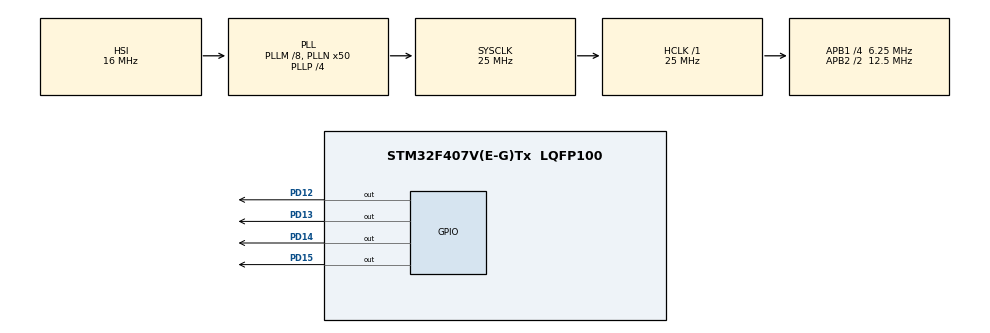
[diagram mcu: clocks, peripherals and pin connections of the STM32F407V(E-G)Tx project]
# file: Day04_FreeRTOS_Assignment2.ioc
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FREERTOS.INCLUDE_vTaskDelayUntil=1
FREERTOS.Tasks01=defaultTask,-3,128,StartDefaultTask,Default,NULL,Dynamic,NULL,NULL
FREERTOS.configUSE_NEWLIB_REENTRANT=1
Mcu.Family=STM32F4
Mcu.Name=STM32F407V(E-G)Tx
Mcu.Package=LQFP100
NVIC.PriorityGroup=NVIC_PRIORITYGROUP_4
NVIC.TIM1_UP_TIM10_IRQn=true\:15\:0\:false\:false\:true\:false\:false\:true\:true
NVIC.TimeBase=TIM1_UP_TIM10_IRQn
NVIC.TimeBaseIP=TIM1
PD12.Signal=GPIO_Output
PD13.Signal=GPIO_Output
PD14.Signal=GPIO_Output
PD15.Signal=GPIO_Output
ProjectManager.HeapSize=0x200
ProjectManager.StackSize=0x400
ProjectManager.TargetToolchain=STM32CubeIDE
RCC.48MHZClocksFreq_Value=14285714.285714285
RCC.AHBFreq_Value=25000000
RCC.APB1CLKDivider=RCC_HCLK_DIV4
RCC.APB1Freq_Value=6250000
RCC.APB1TimFreq_Value=12500000
RCC.APB2CLKDivider=RCC_HCLK_DIV2
RCC.APB2Freq_Value=12500000
RCC.APB2TimFreq_Value=25000000
RCC.CortexFreq_Value=25000000
RCC.HCLKFreq_Value=25000000
RCC.HSE_VALUE=8000000
RCC.HSI_VALUE=16000000
RCC.LSE_VALUE=32768
RCC.PLLM=8
RCC.PLLN=50
RCC.PLLP=RCC_PLLP_DIV4
RCC.PLLQ=7
RCC.SYSCLKFreq_VALUE=25000000
RCC.SYSCLKSource=RCC_SYSCLKSOURCE_PLLCLK
RCC.VCOOutputFreq_Value=100000000
VP_FREERTOS_VS_CMSIS_V1.Mode=CMSIS_V1
VP_SYS_VS_tim1.Mode=TIM1
board=STM32F407G-DISC1

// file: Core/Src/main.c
/* USER CODE BEGIN Header */
/**
  ******************************************************************************
  * @file           : main.c
  * @brief          : Main program body
  ******************************************************************************
  * @attention
  *
  * Copyright (c) 2024 STMicroelectronics.
  * All rights reserved.
  *
  * This software is licensed under terms that can be found in the LICENSE file
  * in the root directory of this software component.
  * If no LICENSE file comes with this software, it is provided AS-IS.
  *
  ******************************************************************************
  */
/* USER CODE END Header */
#include "main.h"
#include "cmsis_os.h"

/* USER CODE BEGIN Includes */
#include "FreeRTOS.h"
#include "task.h"
#include "FreeRTOSConfig.h"
/* USER CODE END Includes */

/* USER CODE BEGIN PD */
typedef struct led {
	uint16_t ledPin;
	int delay;
}led_t;
/* USER CODE END PD */

osThreadId defaultTaskHandle;

void SystemClock_Config(void);
static void MX_GPIO_Init(void);
void StartDefaultTask(void const * argument);

/* USER CODE BEGIN 0 */

void vLedTask(void *vpParam)
{
	struct led *ptr = (struct led*)vpParam;
	uint16_t pin = ptr->ledPin;
	uint32_t delay = ptr->delay;
	portTickType wakeupTime = xTaskGetTickCount();
	while(1)
	{
		portENTER_CRITICAL();
		HAL_GPIO_TogglePin(GPIOD, pin);
		portEXIT_CRITICAL();
		vTaskDelayUntil(&wakeupTime, delay / portTICK_RATE_MS);
	}
	vTaskDelete(NULL);
}

/* USER CODE END 0 */

int main(void)
{

  /* USER CODE BEGIN 1 */
	BaseType_t ret;

//	struct led led2 = { .ledPin = GPIO_PIN_13, .delay = 2000};
//	struct led led3 = { .ledPin = GPIO_PIN_14, .delay = 3000};
//	struct led led4 = { .ledPin = GPIO_PIN_15, .delay = 4000};

//	struct led led1 = {12, 1000};
//	struct led led2 = {13, 2000};
//	struct led led3 = {14, 3000};
//	struct led led4 = {15, 4000};
  /* USER CODE END 1 */

  /* MCU Configuration--------------------------------------------------------*/

  /* Reset of all peripherals, Initializes the Flash interface and the Systick. */
  HAL_Init();

  /* Configure the system clock */
  SystemClock_Config();

  /* Initialize all configured peripherals */
  MX_GPIO_Init();

  /* Create the thread(s) */
  /* definition and creation of defaultTask */
  osThreadDef(defaultTask, StartDefaultTask, osPriorityIdle, 0, 128);
  defaultTaskHandle = osThreadCreate(osThread(defaultTask), NULL);

  /* USER CODE BEGIN RTOS_THREADS */
  /* add threads, ... */
  led_t led1 = {GPIO_PIN_12,500};
  ret = xTaskCreate(vLedTask, "LED1", configMINIMAL_STACK_SIZE, &led1, 6, NULL);
  if(ret != pdTRUE)
	  Error_Handler();

  led_t led2 = {GPIO_PIN_13,500};
  ret = xTaskCreate(vLedTask, "LED2", configMINIMAL_STACK_SIZE, &led2, 4, NULL);
  if(ret != pdTRUE)
	  Error_Handler();

  led_t led3 = {GPIO_PIN_14,500};
  ret = xTaskCreate(vLedTask, "LED3", configMINIMAL_STACK_SIZE, &led3, 3, NULL);
  if(ret != pdTRUE)
	  Error_Handler();

  led_t led4 = {GPIO_PIN_15,500};
  ret = xTaskCreate(vLedTask, "LED4", configMINIMAL_STACK_SIZE, &led4, 5, NULL);
  if(ret != pdTRUE)
	  Error_Handler();
  /* USER CODE END RTOS_THREADS */

  /* Start scheduler */
  osKernelStart();

  /* We should never get here as control is now taken by the scheduler */

  /* Infinite loop */
  while (1)
  {

  }
}

void SystemClock_Config(void)
{
  RCC_OscInitTypeDef RCC_OscInitStruct = {0};
  RCC_ClkInitTypeDef RCC_ClkInitStruct = {0};

  /** Configure the main internal regulator output voltage
  */
  __HAL_RCC_PWR_CLK_ENABLE();
  __HAL_PWR_VOLTAGESCALING_CONFIG(PWR_REGULATOR_VOLTAGE_SCALE1);

  /** Initializes the RCC Oscillators according to the specified parameters
  * in the RCC_OscInitTypeDef structure.
  */
  RCC_OscInitStruct.OscillatorType = RCC_OSCILLATORTYPE_HSI;
  RCC_OscInitStruct.HSIState = RCC_HSI_ON;
  RCC_OscInitStruct.HSICalibrationValue = RCC_HSICALIBRATION_DEFAULT;
  RCC_OscInitStruct.PLL.PLLState = RCC_PLL_ON;
  RCC_OscInitStruct.PLL.PLLSource = RCC_PLLSOURCE_HSI;
  RCC_OscInitStruct.PLL.PLLM = 8;
  RCC_OscInitStruct.PLL.PLLN = 50;
  RCC_OscInitStruct.PLL.PLLP = RCC_PLLP_DIV4;
  RCC_OscInitStruct.PLL.PLLQ = 7;
  if (HAL_RCC_OscConfig(&RCC_OscInitStruct) != HAL_OK)
  {
    Error_Handler();
  }

  /** Initializes the CPU, AHB and APB buses clocks
  */
  RCC_ClkInitStruct.ClockType = RCC_CLOCKTYPE_HCLK|RCC_CLOCKTYPE_SYSCLK
                              |RCC_CLOCKTYPE_PCLK1|RCC_CLOCKTYPE_PCLK2;
  RCC_ClkInitStruct.SYSCLKSource = RCC_SYSCLKSOURCE_PLLCLK;
  RCC_ClkInitStruct.AHBCLKDivider = RCC_SYSCLK_DIV1;
  RCC_ClkInitStruct.APB1CLKDivider = RCC_HCLK_DIV4;
  RCC_ClkInitStruct.APB2CLKDivider = RCC_HCLK_DIV2;

  if (HAL_RCC_ClockConfig(&RCC_ClkInitStruct, FLASH_LATENCY_0) != HAL_OK)
  {
    Error_Handler();
  }
}

static void MX_GPIO_Init(void)
{
  GPIO_InitTypeDef GPIO_InitStruct = {0};

  /* GPIO Ports Clock Enable */
  __HAL_RCC_GPIOD_CLK_ENABLE();

  /*Configure GPIO pin Output Level */
  HAL_GPIO_WritePin(GPIOD, GPIO_PIN_12|GPIO_PIN_13|GPIO_PIN_14|GPIO_PIN_15, GPIO_PIN_RESET);

  /*Configure GPIO pins : PD12 PD13 PD14 PD15 */
  GPIO_InitStruct.Pin = GPIO_PIN_12|GPIO_PIN_13|GPIO_PIN_14|GPIO_PIN_15;
  GPIO_InitStruct.Mode = GPIO_MODE_OUTPUT_PP;
  GPIO_InitStruct.Pull = GPIO_NOPULL;
  GPIO_InitStruct.Speed = GPIO_SPEED_FREQ_LOW;
  HAL_GPIO_Init(GPIOD, &GPIO_InitStruct);

}

void StartDefaultTask(void const * argument)
{
  for(;;)
  {
    osDelay(1);
  }
}

void HAL_TIM_PeriodElapsedCallback(TIM_HandleTypeDef *htim)
{
  if (htim->Instance == TIM1) {
    HAL_IncTick();
  }
}

void Error_Handler(void)
{
  __disable_irq();
  while (1)
  {
  }
}
